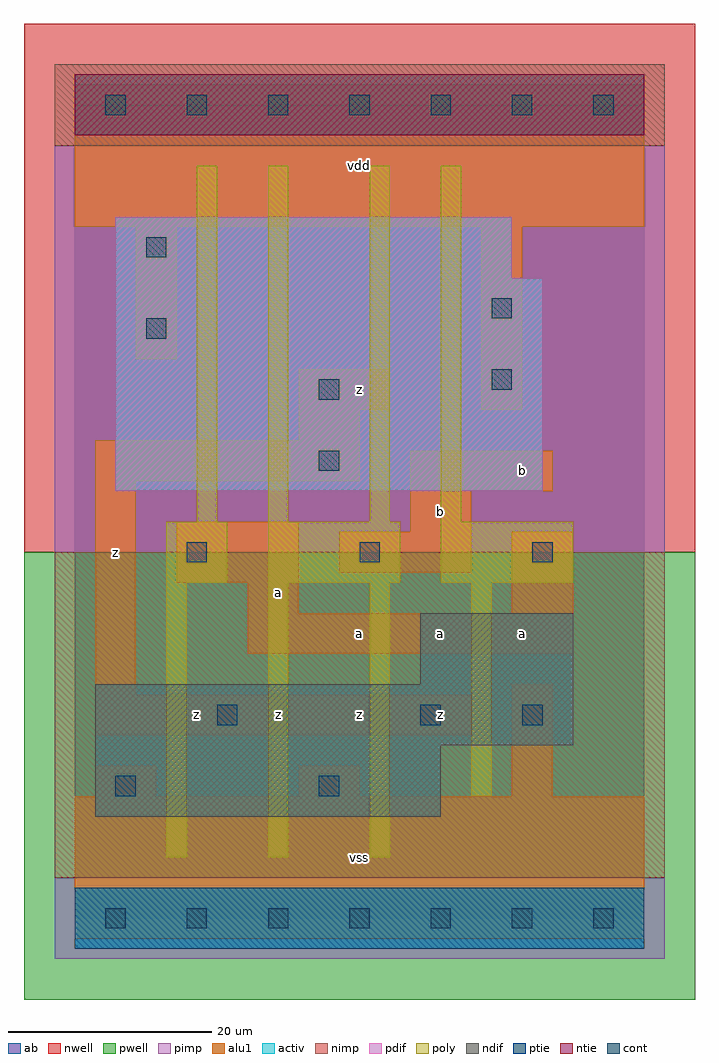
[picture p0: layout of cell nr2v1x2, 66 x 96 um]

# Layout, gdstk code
import gdstk
lib = gdstk.Library(unit=1e-6, precision=1e-09)
def R(c, l, rs):  # rectangles x0, y0, x1, y1
    for r in rs: c.add(gdstk.rectangle(r[:2], r[2:], *l))
def A(c, l, x, y, w, h, nx, ny, dx, dy):  # array of equal rectangles
    R(c, l, [(x+i*dx, y+j*dy, x+i*dx+w, y+j*dy+h) for i in range(nx) for j in range(ny)])
ndif = (3, 0)
pdif = (4, 0)
ntie = (5, 0)
ptie = (6, 0)
cont = (25, 0)
pwell = (41, 0)
nwell = (42, 0)
activ = (43, 0)
pimp = (44, 0)
nimp = (45, 0)
poly = (46, 0)
alu1 = (49, 0)
ab = (63, 0)

nr2v1x2 = lib.new_cell('nr2v1x2')
R(nr2v1x2, ndif, [(2,10,36,17), (2,17,49,23), (34,23,49,30)])
R(nr2v1x2, pdif, [(4,42,46,63), (4,63,43,69)])
R(nr2v1x2, ntie, [(0,77,56,83)])
R(nr2v1x2, ptie, [(0,-3,56,3)])
A(nr2v1x2, cont, 3, -1, 2, 2, 7, 2, 8, 80)
A(nr2v1x2, cont, 11, 35, 2, 2, 3, 1, 17, 0)
R(nr2v1x2, cont, [(4,12,6,14), (24,12,26,14), (14,19,16,21), (34,19,36,21), (44,19,46,21), (24,44,26,46), (24,51,26,53), (41,52,43,54), (7,57,9,59), (41,59,43,61), (7,65,9,67)])
R(nr2v1x2, pwell, [(-5,-8,61,36)])
R(nr2v1x2, nwell, [(-5,36,61,88)])
R(nr2v1x2, activ, [(0,-3,56,3), (2,10,36,17), (2,17,49,23), (34,23,49,30), (4,42,46,63), (4,63,43,69), (0,77,56,83)])
R(nr2v1x2, pimp, [(-2,-4,58,4), (-2,36,58,76)])
R(nr2v1x2, nimp, [(-2,4,58,36), (-2,76,58,84)])
A(nr2v1x2, poly, 9, 6, 2, 27, 3, 1, 10, 0)
R(nr2v1x2, poly, [(39,12,41,33), (9,33,15,39), (19,33,32,39), (36,33,49,39), (12,39,14,74), (19,39,21,74), (29,39,31,74), (36,39,38,74)])
R(nr2v1x2, alu1, [(0,-2,56,12), (2,12,8,15), (22,12,28,15), (43,12,47,23), (2,18,39,22), (2,22,6,43), (17,26,49,30), (17,30,22,33), (43,30,49,38), (10,33,22,39), (26,34,39,38), (33,38,39,42), (33,42,47,46), (2,43,28,47), (22,47,28,50), (22,50,31,54), (40,50,44,68), (6,55,10,68), (0,68,56,82)])
R(nr2v1x2, ab, [(0,0,56,80)])
nr2v1x2.add(gdstk.Label('z', (4,36), layer=49, texttype=0))
nr2v1x2.add(gdstk.Label('z', (20,20), layer=49, texttype=0))
nr2v1x2.add(gdstk.Label('z', (12,20), layer=49, texttype=0))
nr2v1x2.add(gdstk.Label('a', (20,32), layer=49, texttype=0))
nr2v1x2.add(gdstk.Label('vss', (28,6), layer=49, texttype=0))
nr2v1x2.add(gdstk.Label('z', (36,20), layer=49, texttype=0))
nr2v1x2.add(gdstk.Label('z', (28,20), layer=49, texttype=0))
nr2v1x2.add(gdstk.Label('a', (28,28), layer=49, texttype=0))
nr2v1x2.add(gdstk.Label('a', (36,28), layer=49, texttype=0))
nr2v1x2.add(gdstk.Label('b', (36,40), layer=49, texttype=0))
nr2v1x2.add(gdstk.Label('z', (28,52), layer=49, texttype=0))
nr2v1x2.add(gdstk.Label('vdd', (28,74), layer=49, texttype=0))
nr2v1x2.add(gdstk.Label('a', (44,28), layer=49, texttype=0))
nr2v1x2.add(gdstk.Label('b', (44,44), layer=49, texttype=0))

lib.write_gds('nr2v1x2.gds')
